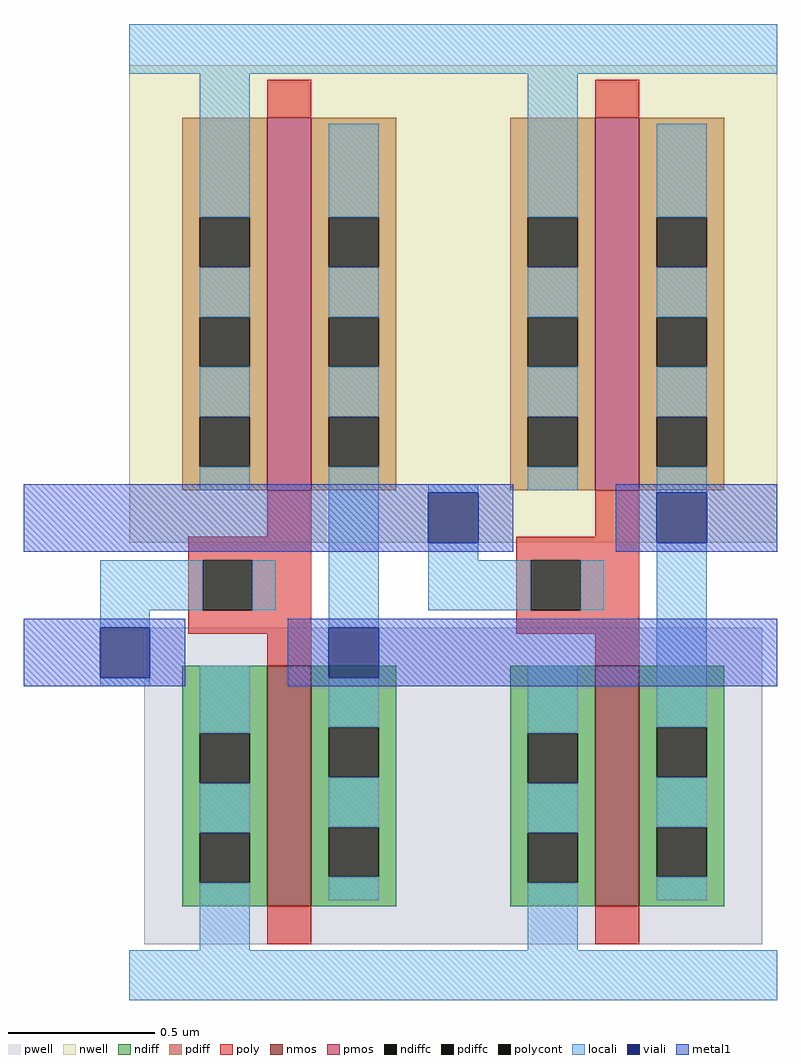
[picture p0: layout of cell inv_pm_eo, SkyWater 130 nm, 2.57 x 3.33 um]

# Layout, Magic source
magic
tech sky130A
<< nwell >>
rect -47 137 174 300
<< pwell >>
rect -42 0 169 108
<< nmos >>
rect 0 13 15 95
rect 112 13 127 95
<< pmos >>
rect 0 155 15 282
rect 112 155 127 282
<< ndiff >>
rect -29 72 0 95
rect -29 55 -23 72
rect -6 55 0 72
rect -29 38 0 55
rect -29 21 -23 38
rect -6 21 0 38
rect -29 13 0 21
rect 15 74 44 95
rect 15 57 21 74
rect 38 57 44 74
rect 15 40 44 57
rect 15 23 21 40
rect 38 23 44 40
rect 15 13 44 23
rect 83 72 112 95
rect 83 55 89 72
rect 106 55 112 72
rect 83 38 112 55
rect 83 21 89 38
rect 106 21 112 38
rect 83 13 112 21
rect 127 74 156 95
rect 127 57 133 74
rect 150 57 156 74
rect 127 40 156 57
rect 127 23 133 40
rect 150 23 156 40
rect 127 13 156 23
<< pdiff >>
rect -29 248 0 282
rect -29 231 -23 248
rect -6 231 0 248
rect -29 214 0 231
rect -29 197 -23 214
rect -6 197 0 214
rect -29 180 0 197
rect -29 163 -23 180
rect -6 163 0 180
rect -29 155 0 163
rect 15 248 44 282
rect 15 231 21 248
rect 38 231 44 248
rect 15 214 44 231
rect 15 197 21 214
rect 38 197 44 214
rect 15 180 44 197
rect 15 163 21 180
rect 38 163 44 180
rect 15 155 44 163
rect 83 248 112 282
rect 83 231 89 248
rect 106 231 112 248
rect 83 214 112 231
rect 83 197 89 214
rect 106 197 112 214
rect 83 180 112 197
rect 83 163 89 180
rect 106 163 112 180
rect 83 155 112 163
rect 127 248 156 282
rect 127 231 133 248
rect 150 231 156 248
rect 127 214 156 231
rect 127 197 133 214
rect 150 197 156 214
rect 127 180 156 197
rect 127 163 133 180
rect 150 163 156 180
rect 127 155 156 163
<< ndiffc >>
rect -23 55 -6 72
rect -23 21 -6 38
rect 21 57 38 74
rect 21 23 38 40
rect 89 55 106 72
rect 89 21 106 38
rect 133 57 150 74
rect 133 23 150 40
<< pdiffc >>
rect -23 231 -6 248
rect -23 197 -6 214
rect -23 163 -6 180
rect 21 231 38 248
rect 21 197 38 214
rect 21 163 38 180
rect 89 231 106 248
rect 89 197 106 214
rect 89 163 106 180
rect 133 231 150 248
rect 133 197 150 214
rect 133 163 150 180
<< poly >>
rect 0 282 15 295
rect 112 282 127 295
rect 0 139 15 155
rect 112 139 127 155
rect -27 131 15 139
rect -27 114 -22 131
rect -5 114 15 131
rect -27 106 15 114
rect 85 131 127 139
rect 85 114 90 131
rect 107 114 127 131
rect 85 106 127 114
rect 0 95 15 106
rect 112 95 127 106
rect 0 0 15 13
rect 112 0 127 13
<< polycont >>
rect -22 114 -5 131
rect 90 114 107 131
<< locali >>
rect -47 297 174 314
rect -23 248 -6 297
rect -23 214 -6 231
rect -23 180 -6 197
rect -23 155 -6 163
rect 21 248 38 280
rect 21 214 38 231
rect 21 180 38 197
rect -57 114 -22 131
rect -5 114 3 131
rect -57 108 -40 114
rect 21 108 38 163
rect 89 248 106 297
rect 89 214 106 231
rect 89 180 106 197
rect 55 154 72 157
rect 89 155 106 163
rect 133 248 150 280
rect 133 214 150 231
rect 133 180 150 197
rect 55 131 72 137
rect 133 154 150 163
rect 55 114 90 131
rect 107 114 115 131
rect -57 88 -40 91
rect -23 72 -6 95
rect -23 38 -6 55
rect -23 -2 -6 21
rect 21 74 38 91
rect 21 40 38 57
rect 21 15 38 23
rect 89 72 106 95
rect 89 38 106 55
rect 89 -2 106 21
rect 133 74 150 137
rect 133 40 150 57
rect 133 15 150 23
rect -47 -19 174 -2
<< viali >>
rect -57 91 -40 108
rect 55 137 72 154
rect 133 137 150 154
rect 21 91 38 108
<< metal1 >>
rect -83 154 84 157
rect -83 137 55 154
rect 72 137 84 154
rect -83 134 84 137
rect 119 154 174 157
rect 119 137 133 154
rect 150 137 174 154
rect 119 134 174 137
rect -83 108 -28 111
rect -83 91 -57 108
rect -40 91 -28 108
rect -83 88 -28 91
rect 7 108 174 111
rect 7 91 21 108
rect 38 91 174 108
rect 7 88 174 91
<< end >>
